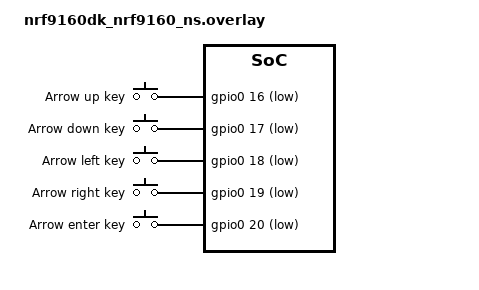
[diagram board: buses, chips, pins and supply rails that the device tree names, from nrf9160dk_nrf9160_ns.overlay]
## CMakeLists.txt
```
#
# Copyright (c) 2021 Nordic Semiconductor ASA
#
# SPDX-License-Identifier: LicenseRef-Nordic-5-Clause
#

cmake_minimum_required(VERSION 3.20.0)

find_package(Zephyr REQUIRED HINTS $ENV{ZEPHYR_BASE})
project(MyKeys)

# NORDIC SDK APP START
target_sources(app PRIVATE src/main.c)
target_sources(app PRIVATE src/keys.c)
target_sources(app PRIVATE src/keys.h)
# NORDIC SDK APP END

# Include source directory
#target_include_directories(app PRIVATE src)

# Application directories
#add_subdirectory(src/fonts)
```

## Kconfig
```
#
# Copyright (c) 2020 Nordic Semiconductor ASA
#
# SPDX-License-Identifier: LicenseRef-Nordic-5-Clause
#

menu "MyKeys Settings"

config KEY_LONGPRESSED_TIME
	int "Time to hold key before triggering the Long Press event (mS)."
	default 2000

config KEY_BOUNCE_TIME
	int "Debounce time for all keys (mS)."
	default 2


endmenu

module = MyKeys
module-str = My button and switches handler
source "${ZEPHYR_BASE}/subsys/logging/Kconfig.template.log_config"

menu "Zephyr Kernel"
source "Kconfig.zephyr"
endmenu
```

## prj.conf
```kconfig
# General config
CONFIG_ASSERT=y
CONFIG_NEWLIB_LIBC=y

# Heap and stacks
CONFIG_HEAP_MEM_POOL_SIZE=8192
CONFIG_MAIN_STACK_SIZE=2048
CONFIG_SYSTEM_WORKQUEUE_STACK_SIZE=2048

# enable console
CONFIG_CONSOLE=y
CONFIG_UART_CONSOLE=y
#CONFIG_RTT_CONSOLE=n 
CONFIG_STDOUT_CONSOLE=y

# Enable RTT
CONFIG_USE_SEGGER_RTT=y
CONFIG_SEGGER_SYSTEMVIEW=y
CONFIG_TRACING=y

# Enable Thread Debugging
CONFIG_THREAD_NAME=y
#CONFIG_SCHED_CPU_MASK=y
#CONFIG_THREAD_ANALYZER=y

# Application Specific settings
CONFIG_KEY_LONGPRESSED_TIME=1500
```

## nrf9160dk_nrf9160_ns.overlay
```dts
/*
 * Copyright (c) 2019 Callender-Consulting, LLC
 *
 * SPDX-License-Identifier: Apache-2.0
 */
/ {
    arrowkeys: arrow_keys {
        compatible = "gpio-keys";
        arrowup: arrow_up {
            gpios = <&gpio0 16 (GPIO_PULL_UP | GPIO_ACTIVE_LOW)>;
            label = "Arrow up key";
        };
        arrowdown: arrow_down {
            gpios = <&gpio0 17 (GPIO_PULL_UP | GPIO_ACTIVE_LOW)>;
            label = "Arrow down key";
        };
        arrowleft: arrow_left {
            gpios = <&gpio0 18 (GPIO_PULL_UP | GPIO_ACTIVE_LOW)>;
            label = "Arrow left key";
        };
        arrowright: arrow_right {
            gpios = <&gpio0 19 (GPIO_PULL_UP | GPIO_ACTIVE_LOW)>;
            label = "Arrow right key";
        };
        arrowenter: arrow_enter {
            gpios = <&gpio0 20 (GPIO_PULL_UP | GPIO_ACTIVE_LOW)>;
            label = "Arrow enter key";
        };
    };
    aliases {
        button1  = &button0;
        button2  = &button1;
        switch1  = &button2;
        switch2  = &button3;
    };
};
```

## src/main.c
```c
#include <zephyr.h>
#include <device.h>

#include "keys.h"

//////////////////////////////////////////////////////////////////////////////////
static void key_handler(uint32_t key_state, uint32_t has_changed, uint8_t key_type)
{
	// keystate:	Contains all button and switch states
	// has_changed:	The button or switch that raised the event
	//				buttons only raise the event when pressed
	//				switch raised the event for on and off position
	// key_type:	Was the event raised by a button or switch or a long pressed button
	switch (key_type) {
	// A buttons is pressed
	case KEY_TYPE_BUTTON:
		if (has_changed & KEY_BUTTON1) {
			printk("Button 1 pressed.\n");
		}
		if (has_changed & KEY_BUTTON2) {
			printk("Button 2 pressed.\n");
		}
		if (has_changed & KEY_ARROW_UP) {
			printk("Button arrow UP pressed.\n");
		}
		if (has_changed & KEY_ARROW_DOWN){
			printk("Button arrow DOWN pressed.\n");
		}
		if (has_changed & KEY_ARROW_LEFT){
			printk("Button arrow LEFT pressed.\n");
		}
		if (has_changed & KEY_ARROW_RIGHT){
			printk("Button arrow RIGHT pressed.\n");
		}
		if (has_changed & KEY_ARROW_CONFIRM){
			printk("Button arrow CONFIRM pressed.\n");
		}
		break;
	// A switch has moved position
	case KEY_TYPE_SWITCH:
		if (has_changed & KEY_SWITCH1){
			if (key_state & KEY_SWITCH1) {
				printk("Switch 1 moved to state: ON\n");
			} else {
				printk("Switch 1 moved to state: OFF\n");
			}
		}
		if (has_changed & KEY_SWITCH2){
			printk("Switch changed to status : %d.\n", key_state & KEY_SWITCH2);
			if (key_state & KEY_SWITCH2) {
				printk("Switch 2 moved to state: ON\n");
			} else {
				printk("Switch 2 moved to state: OFF\n");
			}
		}
	// A button has been pressed and hold
	case KEY_TYPE_LONGPRESSED:
		if (has_changed & KEY_BUTTON1) {
			printk("Button 1 LONG pressed.\n");
		}
		if (has_changed & KEY_BUTTON2) {
			printk("Button 2 LONG pressed.\n");
		}
	default:
		// unkown key_type
		break;
	}
}

//////////////////////////////////////////////////////////////////////////////////
void main(void) {

	bool keys_buttons_available = true;
	uint32_t key_state;

	if (keys_buttons_init(key_handler)) {
		printk("ERROR: Failed to init switches and buttons, continue without input..\n");
		keys_buttons_available = false;	
	}

	key_state = keys_get();
	if (key_state & KEY_SWITCH1) { 
		printk("- Switch 1 state: ON\n");
	} else {
		printk("- Switch 1 state: OFF\n");
	}
	if (key_state & KEY_SWITCH2) { 
		printk("- Switch 2 state: ON\n");
	} else {
		printk("- Switch 2 state: OFF\n");
	}

}
```

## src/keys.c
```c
#include <zephyr.h>
#include <device.h>
#include <devicetree.h>
#include <drivers/gpio.h>

#include "keys.h"

//////////////////////////////////////////////////////////////////////////////////
struct gpio_pin {
	const char * const port;
	const uint8_t pin_number;
	const uint8_t keytype;
};

static const struct gpio_pin key_pins[] = {
	// Development kit buttons definition (nRF9160DK)
	{ DT_GPIO_LABEL(DT_ALIAS(button1), gpios), 
			DT_GPIO_PIN(DT_ALIAS(button1), gpios),
			KEY_TYPE_BUTTON	},
	{ DT_GPIO_LABEL(DT_ALIAS(button2), gpios), 
			DT_GPIO_PIN(DT_ALIAS(button2), gpios),
			KEY_TYPE_BUTTON	},
	// Development kit switches definition (nRF9160DK)
	{ DT_GPIO_LABEL(DT_ALIAS(switch1), gpios), 
			DT_GPIO_PIN(DT_ALIAS(switch1), gpios),
			KEY_TYPE_SWITCH	},	
	{ DT_GPIO_LABEL(DT_ALIAS(switch2), gpios), 
			DT_GPIO_PIN(DT_ALIAS(switch2), gpios),
			KEY_TYPE_SWITCH	},
	// Arrow key definition
	{ DT_GPIO_LABEL(DT_NODELABEL(arrowup), gpios), 
			DT_GPIO_PIN(DT_NODELABEL(arrowup), gpios),
			KEY_TYPE_BUTTON	},
	{ DT_GPIO_LABEL(DT_NODELABEL(arrowdown), gpios), 
			DT_GPIO_PIN(DT_NODELABEL(arrowdown), gpios),
			KEY_TYPE_BUTTON	},	
	{ DT_GPIO_LABEL(DT_NODELABEL(arrowleft), gpios), 
			DT_GPIO_PIN(DT_NODELABEL(arrowleft), gpios),
			KEY_TYPE_BUTTON	},	
	{ DT_GPIO_LABEL(DT_NODELABEL(arrowright), gpios), 
			DT_GPIO_PIN(DT_NODELABEL(arrowright), gpios),
			KEY_TYPE_BUTTON	}
};

static const struct device *key_devs[ARRAY_SIZE(key_pins)];
static struct gpio_callback dev_gpio_button_cb;
static struct k_spinlock lock;
static struct k_work_delayable buttons_scan; 
static struct k_work_delayable long_pressed;
static atomic_t my_keys;
static key_handler_t key_handler_cb;
static bool long_pressed_state; 

K_SEM_DEFINE(wait_initial_run, 0, 1);

//////////////////////////////////////////////////////////////////////////////////
static int ctrl_pin_interrupt(bool state)
{
	int err = 0;

	for (size_t i = 0; i < ARRAY_SIZE(key_pins) && !err; i++) {
		if (state) {
			err = gpio_pin_interrupt_configure(key_devs[i], 
					key_pins[i].pin_number, GPIO_INT_EDGE_BOTH);
		} else {
			err = gpio_pin_interrupt_configure(key_devs[i], 
					key_pins[i].pin_number, GPIO_INT_DISABLE);
		}
	}
	return err;
}

//////////////////////////////////////////////////////////////////////////////////
static void long_pressed_fn(struct k_work *k_work) 
{
    // printk("long press ended...\n");
    long_pressed_state = false;
    if (key_handler_cb != NULL) {
        uint32_t keys_state = atomic_get(&my_keys);
        key_handler_cb(keys_state, keys_state, KEY_TYPE_LONGPRESSED);
    }
}

//////////////////////////////////////////////////////////////////////////////////
static void buttons_scan_fn(struct k_work *k_work)
{
	int err = 0;
	uint32_t keys_state = 0, switch_changed = 0;
	bool button_pressed = false, switch_moved = false;
	static bool initial_run = true; 
	
	static uint32_t last_keys_state, last_switch_state;

	for (size_t i = 0; i < ARRAY_SIZE(key_pins); i++) {
		int val;
		val = gpio_pin_get_raw(key_devs[i], key_pins[i].pin_number);
		if (val<0) { 
			printk("Cannot read GPIO\n");	
		} 
		if (!val) { 
			keys_state |= 1U << i; 
			if (!(last_keys_state & 1U<<i)) {
				switch (key_pins[i].keytype) {
				case KEY_TYPE_BUTTON:
					button_pressed = true;
					break;
				case KEY_TYPE_SWITCH:
					switch_moved = true; 
					switch_changed |= 1U << i; 
					break;
				default: 
					break;
				}
			}
		} 
		else {
			if (last_keys_state & 1U<<i) {						
				if (key_pins[i].keytype == KEY_TYPE_SWITCH )  { 
					switch_moved = true; 
					switch_changed |= 1U << i; 						
				} else { 
					// Cancel long press 
                    if (long_pressed_state) {
                        k_work_cancel_delayable(&long_pressed);
                    }
				}
			} 
		}
	}
	atomic_set(&my_keys, (atomic_val_t)keys_state);
	err = ctrl_pin_interrupt(true);

	if (!initial_run){
		uint32_t has_changed = (keys_state ^ last_keys_state);
		if (button_pressed) { 
			// Start long press 
            long_pressed_state = true;
            k_work_schedule(&long_pressed, K_MSEC(KEY_LONGPRESSED_TIME));
		}
        if ((key_handler_cb != NULL) & (button_pressed)) {
            key_handler_cb(keys_state, has_changed, KEY_TYPE_BUTTON);
        }
        if ((key_handler_cb != NULL) & (switch_moved)) {
            key_handler_cb(keys_state, has_changed, KEY_TYPE_SWITCH);
        }

	} else {
		initial_run = false;
		k_sem_give(&wait_initial_run);
	}

	last_keys_state = keys_state;
    last_switch_state = switch_changed;
}

//////////////////////////////////////////////////////////////////////////////////
void button_interrupt(const struct device *dev, struct gpio_callback *cb, uint32_t pins)
{
	int err = 0;
	k_spinlock_key_t key = k_spin_lock(&lock);
        err = ctrl_pin_interrupt(false);
        k_work_reschedule(&buttons_scan, K_MSEC(KEY_BOUNCE_TIME));
	k_spin_unlock(&lock, key);
}

//////////////////////////////////////////////////////////////////////////////////
int keys_buttons_init(key_handler_t key_handler)
{
	int err;
	uint32_t pin_mask = 0;
    key_handler_cb = key_handler;
    long_pressed_state = false;

	for (size_t i = 0; i < ARRAY_SIZE(key_pins); i++) {
		key_devs[i] = device_get_binding(key_pins[i].port);
		if (!key_devs[i]) {
			printk("Cannot bind gpio device\n");
			return -1;
		}
		err = gpio_pin_configure(key_devs[i], key_pins[i].pin_number, GPIO_INPUT | GPIO_PULL_UP);
		if (err) {
			printk("Cannot configure button gpio\n");
			return -1;
		}
		err = gpio_pin_interrupt_configure(key_devs[i], key_pins[i].pin_number, GPIO_INT_EDGE_BOTH);
		if (err) {
			printk("Failed to configure interrupt for button gpio, %d, \n",i);
			return -1;
		}
		pin_mask |= BIT(key_pins[i].pin_number);
	}
	gpio_init_callback(&dev_gpio_button_cb, button_interrupt, pin_mask);

	for (size_t i = 0; i < ARRAY_SIZE(key_pins); i++) {
		err = gpio_add_callback(key_devs[i], &dev_gpio_button_cb);
		if (err) {
			printk("Failed to interrupt call back to button gpio\n");
			return -1;
		}
	}
	k_work_init_delayable(&buttons_scan, buttons_scan_fn);
    k_work_init_delayable(&long_pressed, long_pressed_fn);

	k_work_schedule(&buttons_scan, K_NO_WAIT);
	k_sem_take(&wait_initial_run, K_FOREVER);

	return 0;
}

//////////////////////////////////////////////////////////////////////////////////
uint32_t keys_get(void)
{
	return atomic_get(&my_keys);
}
```

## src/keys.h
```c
#ifndef KEYS_H__
#define KEYS_H__

#ifdef CONFIG_KEY_BOUNCE_TIME
    #define KEY_BOUNCE_TIME	CONFIG_KEY_BOUNCE_TIME
#else
    #define KEY_BOUNCE_TIME	2
#endif

#ifdef CONFIG_KEY_LONGPRESSED_TIME
    #define KEY_LONGPRESSED_TIME CONFIG_KEY_LONGPRESSED_TIME
#else
    #define KEY_LONGPRESSED_TIME 2000
#endif

enum key_type { KEY_TYPE_BUTTON, KEY_TYPE_SWITCH, KEY_TYPE_LONGPRESSED, KEY_TYPE_LONGPR_RELEASED, KEY_TYPE_DOUBLE_CLICK };
#define KEY_NONE			0U 
#define	KEY_BUTTON1			1U
#define	KEY_BUTTON2			2U
#define	KEY_SWITCH1			4U
#define	KEY_SWITCH2			8U
#define	KEY_ARROW_UP		16U
#define	KEY_ARROW_DOWN		32U
#define	KEY_ARROW_LEFT		64U
#define	KEY_ARROW_RIGHT		128U
#define	KEY_ARROW_CONFIRM	1U		// Equal to button 1

typedef void (*key_handler_t)(uint32_t key_state, uint32_t has_changed, uint8_t key_type);

int keys_buttons_init(key_handler_t key_handler);
uint32_t keys_get(void);

#endif /* KEYS_H__ */
```
